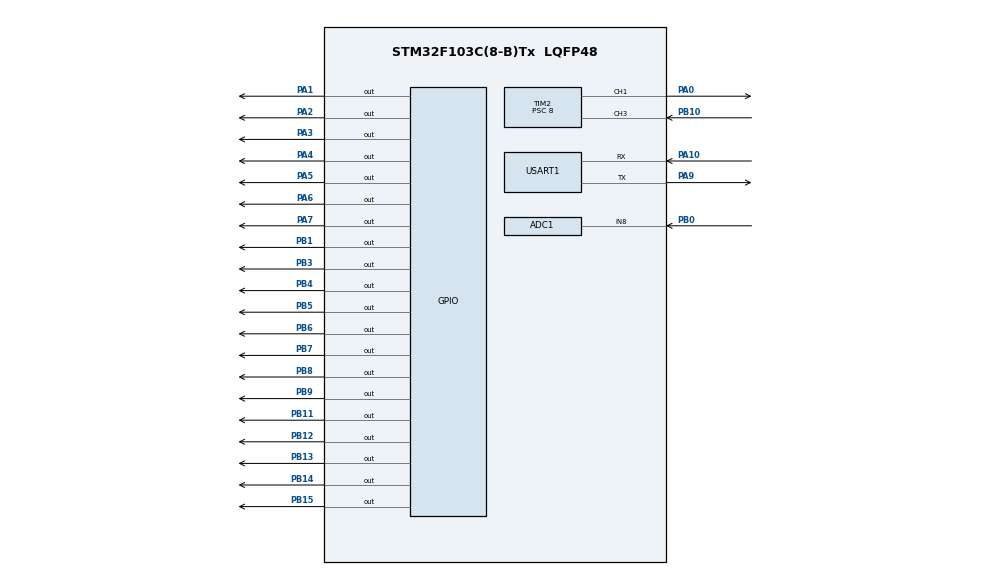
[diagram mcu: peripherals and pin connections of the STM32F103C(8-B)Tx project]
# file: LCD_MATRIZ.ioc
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ADC1.Channel-205\#ChannelRegularConversion=ADC_CHANNEL_8
ADC1.ContinuousConvMode=ENABLE
ADC1.EnableRegularConversion=ENABLE
ADC1.NbrOfConversionFlag=1
ADC1.Rank-205\#ChannelRegularConversion=1
ADC1.SamplingTime-205\#ChannelRegularConversion=ADC_SAMPLETIME_1CYCLE_5
ADC1.master=1
Mcu.Family=STM32F1
Mcu.Name=STM32F103C(8-B)Tx
Mcu.Package=LQFP48
NVIC.PriorityGroup=NVIC_PRIORITYGROUP_4
NVIC.TIM2_IRQn=true\:0\:0\:true\:false\:true\:true
NVIC.TIM3_IRQn=true\:2\:0\:true\:false\:true\:true
NVIC.USART1_IRQn=true\:1\:0\:true\:false\:true\:true
PA0-WKUP.Signal=S_TIM2_CH1_ETR
PA1.Signal=GPIO_Output
PA10.Mode=Asynchronous
PA10.Signal=USART1_RX
PA2.Signal=GPIO_Output
PA3.Signal=GPIO_Output
PA4.Signal=GPIO_Output
PA5.Signal=GPIO_Output
PA6.Signal=GPIO_Output
PA7.Signal=GPIO_Output
PA9.Mode=Asynchronous
PA9.Signal=USART1_TX
PB0.Signal=ADCx_IN8
PB1.Signal=GPIO_Output
PB10.Signal=S_TIM2_CH3
PB11.Signal=GPIO_Output
PB12.Signal=GPIO_Output
PB13.Signal=GPIO_Output
PB14.Signal=GPIO_Output
PB15.Signal=GPIO_Output
PB3.Signal=GPIO_Output
PB4.Signal=GPIO_Output
PB5.Signal=GPIO_Output
PB6.Signal=GPIO_Output
PB7.Signal=GPIO_Output
PB8.Signal=GPIO_Output
PB9.Signal=GPIO_Output
PD0-OSC_IN.Mode=HSE-External-Oscillator
PD0-OSC_IN.Signal=RCC_OSC_IN
PD1-OSC_OUT.Mode=HSE-External-Oscillator
PD1-OSC_OUT.Signal=RCC_OSC_OUT
ProjectManager.HeapSize=0x200
ProjectManager.StackSize=0x400
ProjectManager.TargetToolchain=MDK-ARM V5
RCC.APB1Freq_Value=8000000
RCC.APB2Freq_Value=8000000
RCC.PLLSourceVirtual=RCC_PLLSOURCE_HSE
RCC.SYSCLKSource=RCC_SYSCLKSOURCE_HSE
RCC.USBFreq_Value=16000000
RTC.Format=RTC_FORMAT_BCD
SH.ADCx_IN8.0=ADC1_IN8,IN8
SH.S_TIM2_CH1_ETR.0=TIM2_CH1,PWM Generation1 CH1
SH.S_TIM2_CH3.0=TIM2_CH3,Input_Capture3_from_TI3
TIM2.AutoReloadPreload=TIM_AUTORELOAD_PRELOAD_ENABLE
TIM2.Channel-Input_Capture3_from_TI3=TIM_CHANNEL_3
TIM2.Channel-PWM\ Generation1\ CH1=TIM_CHANNEL_1
TIM2.ICFilter_CH3=8
TIM2.Period=8000
TIM2.Prescaler=8
TIM2.Pulse-PWM\ Generation1\ CH1=100
TIM3.Period=25
TIM3.Prescaler=8000
USART1.VirtualMode=VM_ASYNC
VP_RTC_No_RTC_Output.Mode=RTC_OUT_NO
VP_RTC_VS_RTC_Activate.Mode=RTC_Enabled
VP_SYS_VS_ND.Mode=No_Debug
VP_TIM3_VS_ClockSourceINT.Mode=Internal
board=LCD_MATRIZ

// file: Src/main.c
/**
  ******************************************************************************
  * @file           : main.c
  * @brief          : Main program body
  ******************************************************************************
  ** This notice applies to any and all portions of this file
  * that are not between comment pairs USER CODE BEGIN and
  * USER CODE END. Other portions of this file, whether
  * inserted by the user or by software development tools
  * are owned by their respective copyright owners.
  *
  * COPYRIGHT(c) 2018 STMicroelectronics
  *
  * Redistribution and use in source and binary forms, with or without modification,
  * are permitted provided that the following conditions are met:
  *   1. Redistributions of source code must retain the above copyright notice,
  *      this list of conditions and the following disclaimer.
  *   2. Redistributions in binary form must reproduce the above copyright notice,
  *      this list of conditions and the following disclaimer in the documentation
  *      and/or other materials provided with the distribution.
  *   3. Neither the name of STMicroelectronics nor the names of its contributors
  *      may be used to endorse or promote products derived from this software
  *      without specific prior written permission.
  *
  * THIS SOFTWARE IS PROVIDED BY THE COPYRIGHT HOLDERS AND CONTRIBUTORS "AS IS"
  * AND ANY EXPRESS OR IMPLIED WARRANTIES, INCLUDING, BUT NOT LIMITED TO, THE
  * IMPLIED WARRANTIES OF MERCHANTABILITY AND FITNESS FOR A PARTICULAR PURPOSE ARE
  * DISCLAIMED. IN NO EVENT SHALL THE COPYRIGHT HOLDER OR CONTRIBUTORS BE LIABLE
  * FOR ANY DIRECT, INDIRECT, INCIDENTAL, SPECIAL, EXEMPLARY, OR CONSEQUENTIAL
  * DAMAGES (INCLUDING, BUT NOT LIMITED TO, PROCUREMENT OF SUBSTITUTE GOODS OR
  * SERVICES; LOSS OF USE, DATA, OR PROFITS; OR BUSINESS INTERRUPTION) HOWEVER
  * CAUSED AND ON ANY THEORY OF LIABILITY, WHETHER IN CONTRACT, STRICT LIABILITY,
  * OR TORT (INCLUDING NEGLIGENCE OR OTHERWISE) ARISING IN ANY WAY OUT OF THE USE
  * OF THIS SOFTWARE, EVEN IF ADVISED OF THE POSSIBILITY OF SUCH DAMAGE.
  *
  ******************************************************************************
  */
#include "main.h"
#include "stm32f1xx_hal.h"

/* USER CODE BEGIN Includes */
#include "ST_Matriz.h"
#include "ST_LCD.h"
#include "stdbool.h"
#include "string.h"
/* USER CODE END Includes */

ADC_HandleTypeDef hadc1;

RTC_HandleTypeDef hrtc;

TIM_HandleTypeDef htim2;
TIM_HandleTypeDef htim3;

UART_HandleTypeDef huart1;

/* USER CODE BEGIN PV */
/* Private variables ---------------------------------------------------------*/
const bool mp[7][5] = 		{
										{ 1, 1, 1, 1, 1},
										{ 1, 0, 0, 0, 1},
										{ 1, 0, 0, 0, 1},
										{ 1, 1, 1, 1, 1},
                    { 1, 0, 0, 0, 1},
                    { 1, 0, 0, 0, 1},
                    { 1, 0, 0, 0, 1}
										};

char result[10];
uint8_t caracterL[] = {0x04, 0x0E, 0x1F, 0x0E, 0x04, 0, 0};
uint16_t cc3 = 0;
/* USER CODE END PV */

void SystemClock_Config(void);
static void MX_GPIO_Init(void);
static void MX_USART1_UART_Init(void);
static void MX_TIM2_Init(void);
static void MX_ADC1_Init(void);
static void MX_TIM3_Init(void);
static void MX_RTC_Init(void);

void HAL_TIM_MspPostInit(TIM_HandleTypeDef *htim);

/* USER CODE BEGIN PFP */
/* Private function prototypes -----------------------------------------------*/

/* USER CODE END PFP */

int main(void)
{
  /* USER CODE BEGIN 1 */
	char timevalue[10];
	uint8_t maincnt = 3;
	RTC_TimeTypeDef sTime;
	RTC_DateTypeDef sDate;
	char cc3value[10];
	float valor;
  /* USER CODE END 1 */

  /* MCU Configuration----------------------------------------------------------*/

  /* Reset of all peripherals, Initializes the Flash interface and the Systick. */
  HAL_Init();

  /* Configure the system clock */
  SystemClock_Config();

  /* Initialize all configured peripherals */
  MX_GPIO_Init();
  MX_USART1_UART_Init();
  MX_TIM2_Init();
  MX_ADC1_Init();
  MX_TIM3_Init();
  MX_RTC_Init();
  /* USER CODE BEGIN 2 */
	ST_LCD_Init();
	ST_LCD_Gotoxy(0, 0);
	HAL_ADC_Start(&hadc1);
	HAL_TIM_PWM_Start(&htim2,TIM_CHANNEL_1);
	HAL_TIM_IC_Start_IT(&htim2,TIM_CHANNEL_3);
	HAL_TIM_Base_Start_IT(&htim3);
  /* USER CODE END 2 */

  /* Infinite loop */
  while (1)
  {

  /* USER CODE BEGIN 3 */
		ST_LCD_Printf("\x7F");
		do{
			ST_LCD_Gotoxy(5, 0);
			ST_LCD_Printf("Hola");
			ST_LCD_Gotoxy(4, 1);
			ST_LCD_Printf("Mundo");
			ST_LCD_WriteCGRAM(caracterL, 0x08);
			HAL_Delay(1000);
		}while(--maincnt);
		maincnt = 10;
		ST_LCD_Printf("\x7F");
		do{
			HAL_RTC_GetTime(&hrtc,&sTime,RTC_FORMAT_BCD);
			HAL_RTC_GetDate(&hrtc,&sDate,RTC_FORMAT_BCD);
			sprintf(timevalue,   "%u%u:%u%u:%u%u", (sTime.Hours   & 0xF0) >> 4, sTime.Hours   & 0x0F,
																						 (sTime.Minutes & 0xF0) >> 4, sTime.Minutes & 0x0F,
																						 (sTime.Seconds & 0xF0) >> 4, sTime.Seconds & 0x0F);
			ST_LCD_Gotoxy(3, 0);
			ST_LCD_Printf(timevalue);
			sprintf(timevalue,   "%u%u/%u%u/%u%u", (sDate.Date   & 0xF0) >> 4, sDate.Date  & 0x0F,
																						 (sDate.Month  & 0xF0) >> 4, sDate.Month & 0x0F,
																						 (sDate.Year   & 0xF0) >> 4, sDate.Year  & 0x0F);
			ST_LCD_Gotoxy(3, 1);
			ST_LCD_Printf(timevalue);
			HAL_Delay(1000);
		}while(--maincnt);
		maincnt = 10;
		ST_LCD_Printf("\x7F");
		ST_LCD_Gotoxy(2, 0);
		ST_LCD_Printf("Capacimetro");
		do{
			valor = ((float)cc3 * 0.481) / 150;
			sprintf(cc3value, "%.3f uf", valor);
			ST_LCD_Gotoxy(3, 1);
			ST_LCD_Printf(cc3value);
			HAL_Delay(1000);
		}while(--maincnt);
		maincnt = 3;
  }
  /* USER CODE END 3 */

}

void SystemClock_Config(void)
{

  RCC_OscInitTypeDef RCC_OscInitStruct;
  RCC_ClkInitTypeDef RCC_ClkInitStruct;
  RCC_PeriphCLKInitTypeDef PeriphClkInit;

    /**Initializes the CPU, AHB and APB busses clocks
    */
  RCC_OscInitStruct.OscillatorType = RCC_OSCILLATORTYPE_LSI|RCC_OSCILLATORTYPE_HSE;
  RCC_OscInitStruct.HSEState = RCC_HSE_ON;
  RCC_OscInitStruct.LSIState = RCC_LSI_ON;
  RCC_OscInitStruct.PLL.PLLState = RCC_PLL_NONE;
  if (HAL_RCC_OscConfig(&RCC_OscInitStruct) != HAL_OK)
  {
    _Error_Handler(__FILE__, __LINE__);
  }

    /**Initializes the CPU, AHB and APB busses clocks
    */
  RCC_ClkInitStruct.ClockType = RCC_CLOCKTYPE_HCLK|RCC_CLOCKTYPE_SYSCLK
                              |RCC_CLOCKTYPE_PCLK1|RCC_CLOCKTYPE_PCLK2;
  RCC_ClkInitStruct.SYSCLKSource = RCC_SYSCLKSOURCE_HSE;
  RCC_ClkInitStruct.AHBCLKDivider = RCC_SYSCLK_DIV1;
  RCC_ClkInitStruct.APB1CLKDivider = RCC_HCLK_DIV1;
  RCC_ClkInitStruct.APB2CLKDivider = RCC_HCLK_DIV1;

  if (HAL_RCC_ClockConfig(&RCC_ClkInitStruct, FLASH_LATENCY_0) != HAL_OK)
  {
    _Error_Handler(__FILE__, __LINE__);
  }

  PeriphClkInit.PeriphClockSelection = RCC_PERIPHCLK_RTC|RCC_PERIPHCLK_ADC;
  PeriphClkInit.RTCClockSelection = RCC_RTCCLKSOURCE_LSI;
  PeriphClkInit.AdcClockSelection = RCC_ADCPCLK2_DIV2;
  if (HAL_RCCEx_PeriphCLKConfig(&PeriphClkInit) != HAL_OK)
  {
    _Error_Handler(__FILE__, __LINE__);
  }

    /**Configure the Systick interrupt time
    */
  HAL_SYSTICK_Config(HAL_RCC_GetHCLKFreq()/1000);

    /**Configure the Systick
    */
  HAL_SYSTICK_CLKSourceConfig(SYSTICK_CLKSOURCE_HCLK);

  /* SysTick_IRQn interrupt configuration */
  HAL_NVIC_SetPriority(SysTick_IRQn, 0, 0);
}

/* ADC1 init function */
static void MX_ADC1_Init(void)
{

  ADC_ChannelConfTypeDef sConfig;

    /**Common config
    */
  hadc1.Instance = ADC1;
  hadc1.Init.ScanConvMode = ADC_SCAN_DISABLE;
  hadc1.Init.ContinuousConvMode = ENABLE;
  hadc1.Init.DiscontinuousConvMode = DISABLE;
  hadc1.Init.ExternalTrigConv = ADC_SOFTWARE_START;
  hadc1.Init.DataAlign = ADC_DATAALIGN_RIGHT;
  hadc1.Init.NbrOfConversion = 1;
  if (HAL_ADC_Init(&hadc1) != HAL_OK)
  {
    _Error_Handler(__FILE__, __LINE__);
  }

    /**Configure Regular Channel
    */
  sConfig.Channel = ADC_CHANNEL_8;
  sConfig.Rank = ADC_REGULAR_RANK_1;
  sConfig.SamplingTime = ADC_SAMPLETIME_1CYCLE_5;
  if (HAL_ADC_ConfigChannel(&hadc1, &sConfig) != HAL_OK)
  {
    _Error_Handler(__FILE__, __LINE__);
  }

}

/* RTC init function */
static void MX_RTC_Init(void)
{

  RTC_TimeTypeDef sTime;
  RTC_DateTypeDef DateToUpdate;

    /**Initialize RTC Only
    */
  hrtc.Instance = RTC;
  if(HAL_RTCEx_BKUPRead(&hrtc, RTC_BKP_DR1) != 0x32F2){
  hrtc.Init.AsynchPrediv = RTC_AUTO_1_SECOND;
  hrtc.Init.OutPut = RTC_OUTPUTSOURCE_NONE;
  if (HAL_RTC_Init(&hrtc) != HAL_OK)
  {
    _Error_Handler(__FILE__, __LINE__);
  }

    /**Initialize RTC and set the Time and Date
    */
  sTime.Hours = 0x10;
  sTime.Minutes = 0x0;
  sTime.Seconds = 0x0;

  if (HAL_RTC_SetTime(&hrtc, &sTime, RTC_FORMAT_BCD) != HAL_OK)
  {
    _Error_Handler(__FILE__, __LINE__);
  }

  DateToUpdate.WeekDay = RTC_WEEKDAY_THURSDAY;
  DateToUpdate.Month = RTC_MONTH_MARCH;
  DateToUpdate.Date = 0x20;
  DateToUpdate.Year = 0x18;

  if (HAL_RTC_SetDate(&hrtc, &DateToUpdate, RTC_FORMAT_BCD) != HAL_OK)
  {
    _Error_Handler(__FILE__, __LINE__);
  }

    HAL_RTCEx_BKUPWrite(&hrtc,RTC_BKP_DR1,0x32F2);
  }

}

/* TIM2 init function */
static void MX_TIM2_Init(void)
{

  TIM_MasterConfigTypeDef sMasterConfig;
  TIM_OC_InitTypeDef sConfigOC;
  TIM_IC_InitTypeDef sConfigIC;

  htim2.Instance = TIM2;
  htim2.Init.Prescaler = 8;
  htim2.Init.CounterMode = TIM_COUNTERMODE_UP;
  htim2.Init.Period = 8000;
  htim2.Init.ClockDivision = TIM_CLOCKDIVISION_DIV1;
  htim2.Init.AutoReloadPreload = TIM_AUTORELOAD_PRELOAD_ENABLE;
  if (HAL_TIM_PWM_Init(&htim2) != HAL_OK)
  {
    _Error_Handler(__FILE__, __LINE__);
  }

  if (HAL_TIM_IC_Init(&htim2) != HAL_OK)
  {
    _Error_Handler(__FILE__, __LINE__);
  }

  sMasterConfig.MasterOutputTrigger = TIM_TRGO_RESET;
  sMasterConfig.MasterSlaveMode = TIM_MASTERSLAVEMODE_DISABLE;
  if (HAL_TIMEx_MasterConfigSynchronization(&htim2, &sMasterConfig) != HAL_OK)
  {
    _Error_Handler(__FILE__, __LINE__);
  }

  sConfigOC.OCMode = TIM_OCMODE_PWM1;
  sConfigOC.Pulse = 100;
  sConfigOC.OCPolarity = TIM_OCPOLARITY_HIGH;
  sConfigOC.OCFastMode = TIM_OCFAST_DISABLE;
  if (HAL_TIM_PWM_ConfigChannel(&htim2, &sConfigOC, TIM_CHANNEL_1) != HAL_OK)
  {
    _Error_Handler(__FILE__, __LINE__);
  }

  sConfigIC.ICPolarity = TIM_INPUTCHANNELPOLARITY_RISING;
  sConfigIC.ICSelection = TIM_ICSELECTION_DIRECTTI;
  sConfigIC.ICPrescaler = TIM_ICPSC_DIV1;
  sConfigIC.ICFilter = 8;
  if (HAL_TIM_IC_ConfigChannel(&htim2, &sConfigIC, TIM_CHANNEL_3) != HAL_OK)
  {
    _Error_Handler(__FILE__, __LINE__);
  }

  HAL_TIM_MspPostInit(&htim2);

}

/* TIM3 init function */
static void MX_TIM3_Init(void)
{

  TIM_ClockConfigTypeDef sClockSourceConfig;
  TIM_MasterConfigTypeDef sMasterConfig;

  htim3.Instance = TIM3;
  htim3.Init.Prescaler = 8000;
  htim3.Init.CounterMode = TIM_COUNTERMODE_UP;
  htim3.Init.Period = 25;
  htim3.Init.ClockDivision = TIM_CLOCKDIVISION_DIV1;
  htim3.Init.AutoReloadPreload = TIM_AUTORELOAD_PRELOAD_DISABLE;
  if (HAL_TIM_Base_Init(&htim3) != HAL_OK)
  {
    _Error_Handler(__FILE__, __LINE__);
  }

  sClockSourceConfig.ClockSource = TIM_CLOCKSOURCE_INTERNAL;
  if (HAL_TIM_ConfigClockSource(&htim3, &sClockSourceConfig) != HAL_OK)
  {
    _Error_Handler(__FILE__, __LINE__);
  }

  sMasterConfig.MasterOutputTrigger = TIM_TRGO_RESET;
  sMasterConfig.MasterSlaveMode = TIM_MASTERSLAVEMODE_DISABLE;
  if (HAL_TIMEx_MasterConfigSynchronization(&htim3, &sMasterConfig) != HAL_OK)
  {
    _Error_Handler(__FILE__, __LINE__);
  }

}

/* USART1 init function */
static void MX_USART1_UART_Init(void)
{

  huart1.Instance = USART1;
  huart1.Init.BaudRate = 115200;
  huart1.Init.WordLength = UART_WORDLENGTH_8B;
  huart1.Init.StopBits = UART_STOPBITS_1;
  huart1.Init.Parity = UART_PARITY_NONE;
  huart1.Init.Mode = UART_MODE_TX_RX;
  huart1.Init.HwFlowCtl = UART_HWCONTROL_NONE;
  huart1.Init.OverSampling = UART_OVERSAMPLING_16;
  if (HAL_UART_Init(&huart1) != HAL_OK)
  {
    _Error_Handler(__FILE__, __LINE__);
  }

}

/** Configure pins as
        * Analog
        * Input
        * Output
        * EVENT_OUT
        * EXTI
*/
static void MX_GPIO_Init(void)
{

  GPIO_InitTypeDef GPIO_InitStruct;

  /* GPIO Ports Clock Enable */
  __HAL_RCC_GPIOD_CLK_ENABLE();
  __HAL_RCC_GPIOA_CLK_ENABLE();
  __HAL_RCC_GPIOB_CLK_ENABLE();

  /*Configure GPIO pin Output Level */
  HAL_GPIO_WritePin(GPIOA, GPIO_PIN_1|GPIO_PIN_2|GPIO_PIN_3|GPIO_PIN_4
                          |GPIO_PIN_5|GPIO_PIN_6|GPIO_PIN_7, GPIO_PIN_RESET);

  /*Configure GPIO pin Output Level */
  HAL_GPIO_WritePin(GPIOB, GPIO_PIN_1|GPIO_PIN_11|GPIO_PIN_12|GPIO_PIN_13
                          |GPIO_PIN_14|GPIO_PIN_15|GPIO_PIN_3|GPIO_PIN_4
                          |GPIO_PIN_5|GPIO_PIN_6|GPIO_PIN_7|GPIO_PIN_8
                          |GPIO_PIN_9, GPIO_PIN_RESET);

  /*Configure GPIO pins : PA1 PA2 PA3 PA4
                           PA5 PA6 PA7 */
  GPIO_InitStruct.Pin = GPIO_PIN_1|GPIO_PIN_2|GPIO_PIN_3|GPIO_PIN_4
                          |GPIO_PIN_5|GPIO_PIN_6|GPIO_PIN_7;
  GPIO_InitStruct.Mode = GPIO_MODE_OUTPUT_PP;
  GPIO_InitStruct.Speed = GPIO_SPEED_FREQ_LOW;
  HAL_GPIO_Init(GPIOA, &GPIO_InitStruct);

  /*Configure GPIO pins : PB1 PB11 PB12 PB13
                           PB14 PB15 PB3 PB4
                           PB5 PB6 PB7 PB8
                           PB9 */
  GPIO_InitStruct.Pin = GPIO_PIN_1|GPIO_PIN_11|GPIO_PIN_12|GPIO_PIN_13
                          |GPIO_PIN_14|GPIO_PIN_15|GPIO_PIN_3|GPIO_PIN_4
                          |GPIO_PIN_5|GPIO_PIN_6|GPIO_PIN_7|GPIO_PIN_8
                          |GPIO_PIN_9;
  GPIO_InitStruct.Mode = GPIO_MODE_OUTPUT_PP;
  GPIO_InitStruct.Speed = GPIO_SPEED_FREQ_LOW;
  HAL_GPIO_Init(GPIOB, &GPIO_InitStruct);

}

void _Error_Handler(char *file, int line)
{
  while(1)
  {
  }
}

/************************ (C) COPYRIGHT STMicroelectronics *****END OF FILE****/
